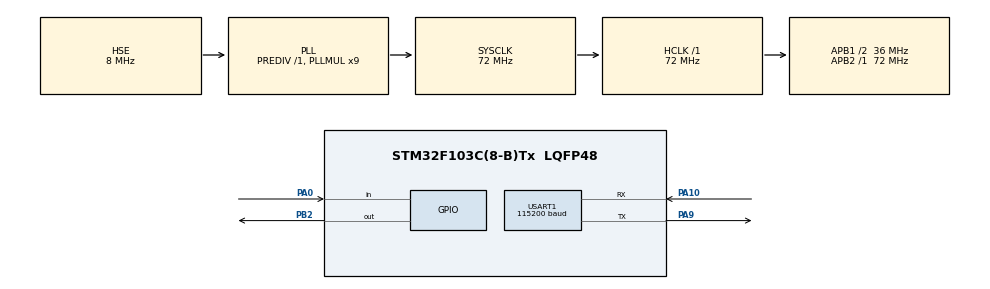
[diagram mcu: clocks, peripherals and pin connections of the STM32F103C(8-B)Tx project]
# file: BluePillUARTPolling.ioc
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Mcu.Family=STM32F1
Mcu.Name=STM32F103C(8-B)Tx
Mcu.Package=LQFP48
NVIC.PriorityGroup=NVIC_PRIORITYGROUP_4
PA0-WKUP.GPIO_PuPd=GPIO_PULLDOWN
PA0-WKUP.Signal=GPIO_Input
PA10.Mode=Asynchronous
PA10.Signal=USART1_RX
PA13.Mode=Serial_Wire
PA13.Signal=SYS_JTMS-SWDIO
PA14.Mode=Serial_Wire
PA14.Signal=SYS_JTCK-SWCLK
PA9.Mode=Asynchronous
PA9.Signal=USART1_TX
PB2.Signal=GPIO_Output
PD0-OSC_IN.Mode=HSE-External-Oscillator
PD0-OSC_IN.Signal=RCC_OSC_IN
PD1-OSC_OUT.Mode=HSE-External-Oscillator
PD1-OSC_OUT.Signal=RCC_OSC_OUT
ProjectManager.HeapSize=0x200
ProjectManager.StackSize=0x400
ProjectManager.TargetToolchain=STM32CubeIDE
RCC.AHBFreq_Value=72000000
RCC.APB1CLKDivider=RCC_HCLK_DIV2
RCC.APB1Freq_Value=36000000
RCC.APB1TimFreq_Value=72000000
RCC.APB2Freq_Value=72000000
RCC.APB2TimFreq_Value=72000000
RCC.HCLKFreq_Value=72000000
RCC.PLLMUL=RCC_PLL_MUL9
RCC.PLLSourceVirtual=RCC_PLLSOURCE_HSE
RCC.SYSCLKFreq_VALUE=72000000
RCC.SYSCLKSource=RCC_SYSCLKSOURCE_PLLCLK
RCC.USBFreq_Value=72000000
USART1.BaudRate=115200
USART1.VirtualMode=VM_ASYNC
USART1.WordLength=WORDLENGTH_8B
board=custom

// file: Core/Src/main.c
/* USER CODE BEGIN Header */
/**
  ******************************************************************************
  * @file           : main.c
  * @brief          : Main program body
  ******************************************************************************
  * @attention
  *
  * Copyright (c) 2025 STMicroelectronics.
  * All rights reserved.
  *
  * This software is licensed under terms that can be found in the LICENSE file
  * in the root directory of this software component.
  * If no LICENSE file comes with this software, it is provided AS-IS.
  *
  ******************************************************************************
  */
/* USER CODE END Header */
#include "main.h"

/* USER CODE BEGIN Includes */
#include <string.h>
#include <stdio.h>
#include <stdlib.h>

#define WELCOME_MSG "Welcome to the Nucleo management console\r\n"
#define MAIN_MENU   "Select the option you are interested in:\r\n\t1. Toggle PB2 LED\r\n\t2. Read USER BUTTON status\r\n\t3. Clear screen and print this message "
#define PROMPT "\r\n> "

/* USER CODE END Includes */

UART_HandleTypeDef huart1;

void SystemClock_Config(void);
static void MX_GPIO_Init(void);
static void MX_USART1_UART_Init(void);
/* USER CODE BEGIN PFP */
void printWelcomeMessage(void);
uint8_t readUserInput(void);
uint8_t processUserInput(uint8_t opt);
/* USER CODE END PFP */

/* USER CODE BEGIN 0 */
void printWelcomeMessage(void) {
//  HAL_UART_Transmit(&huart1, (uint8_t*)"\033[0;0H", strlen("\033[0;0H"), HAL_MAX_DELAY);
//  HAL_UART_Transmit(&huart1, (uint8_t*)"\033[2J", strlen("\033[2J"), HAL_MAX_DELAY);
  HAL_UART_Transmit(&huart1, (uint8_t*)WELCOME_MSG, strlen(WELCOME_MSG), HAL_MAX_DELAY);
  HAL_UART_Transmit(&huart1, (uint8_t*)MAIN_MENU, strlen(MAIN_MENU), HAL_MAX_DELAY);
}

uint8_t readUserInput(void) {
  char readBuf[1];
  HAL_UART_Transmit(&huart1, (uint8_t*)PROMPT, strlen(PROMPT), HAL_MAX_DELAY);
  HAL_UART_Receive(&huart1, (uint8_t*)readBuf, 1, HAL_MAX_DELAY);
  return atoi(readBuf);
}

uint8_t processUserInput(uint8_t opt) {
  char msg[30];

  if (!opt || opt > 3)
  {
	return 0;
  }

  sprintf(msg, "%d", opt);
  HAL_UART_Transmit(&huart1, (uint8_t*)msg, strlen(msg), HAL_MAX_DELAY);

  switch(opt) {
  case 1:
    HAL_GPIO_TogglePin(GPIOB, GPIO_PIN_2);
    break;
  case 2:
    sprintf(msg, "\r\nUSER BUTTON status: %s",
    HAL_GPIO_ReadPin(GPIOA, GPIO_PIN_0) == GPIO_PIN_SET ? "PRESSED" : "RELEASED");
    HAL_UART_Transmit(&huart1, (uint8_t*)msg, strlen(msg), HAL_MAX_DELAY);
    break;
  case 3:
    return 2;
  };

  return 1;
}
/* USER CODE END 0 */

int main(void)
{

  /* USER CODE BEGIN 1 */
  uint8_t opt = 0;
  /* USER CODE END 1 */

  /* MCU Configuration--------------------------------------------------------*/

  /* Reset of all peripherals, Initializes the Flash interface and the Systick. */
  HAL_Init();

  /* Configure the system clock */
  SystemClock_Config();

  /* Initialize all configured peripherals */
  MX_GPIO_Init();
  MX_USART1_UART_Init();

  /* Infinite loop */
  /* USER CODE BEGIN WHILE */
printMessage:
  printWelcomeMessage();
  while (1)
  {
    opt = readUserInput();
	processUserInput(opt);
	if(opt == 3)
	{
      goto printMessage;
	}
    /* USER CODE END WHILE */

  }
}

void SystemClock_Config(void)
{
  RCC_OscInitTypeDef RCC_OscInitStruct = {0};
  RCC_ClkInitTypeDef RCC_ClkInitStruct = {0};

  /** Initializes the RCC Oscillators according to the specified parameters
  * in the RCC_OscInitTypeDef structure.
  */
  RCC_OscInitStruct.OscillatorType = RCC_OSCILLATORTYPE_HSE;
  RCC_OscInitStruct.HSEState = RCC_HSE_ON;
  RCC_OscInitStruct.HSEPredivValue = RCC_HSE_PREDIV_DIV1;
  RCC_OscInitStruct.HSIState = RCC_HSI_ON;
  RCC_OscInitStruct.PLL.PLLState = RCC_PLL_ON;
  RCC_OscInitStruct.PLL.PLLSource = RCC_PLLSOURCE_HSE;
  RCC_OscInitStruct.PLL.PLLMUL = RCC_PLL_MUL9;
  if (HAL_RCC_OscConfig(&RCC_OscInitStruct) != HAL_OK)
  {
    Error_Handler();
  }

  /** Initializes the CPU, AHB and APB buses clocks
  */
  RCC_ClkInitStruct.ClockType = RCC_CLOCKTYPE_HCLK|RCC_CLOCKTYPE_SYSCLK
                              |RCC_CLOCKTYPE_PCLK1|RCC_CLOCKTYPE_PCLK2;
  RCC_ClkInitStruct.SYSCLKSource = RCC_SYSCLKSOURCE_PLLCLK;
  RCC_ClkInitStruct.AHBCLKDivider = RCC_SYSCLK_DIV1;
  RCC_ClkInitStruct.APB1CLKDivider = RCC_HCLK_DIV2;
  RCC_ClkInitStruct.APB2CLKDivider = RCC_HCLK_DIV1;

  if (HAL_RCC_ClockConfig(&RCC_ClkInitStruct, FLASH_LATENCY_2) != HAL_OK)
  {
    Error_Handler();
  }
}

static void MX_USART1_UART_Init(void)
{

  huart1.Instance = USART1;
  huart1.Init.BaudRate = 115200;
  huart1.Init.WordLength = UART_WORDLENGTH_8B;
  huart1.Init.StopBits = UART_STOPBITS_1;
  huart1.Init.Parity = UART_PARITY_NONE;
  huart1.Init.Mode = UART_MODE_TX_RX;
  huart1.Init.HwFlowCtl = UART_HWCONTROL_NONE;
  huart1.Init.OverSampling = UART_OVERSAMPLING_16;
  if (HAL_UART_Init(&huart1) != HAL_OK)
  {
    Error_Handler();
  }

}

static void MX_GPIO_Init(void)
{
  GPIO_InitTypeDef GPIO_InitStruct = {0};

  /* GPIO Ports Clock Enable */
  __HAL_RCC_GPIOD_CLK_ENABLE();
  __HAL_RCC_GPIOA_CLK_ENABLE();
  __HAL_RCC_GPIOB_CLK_ENABLE();

  /*Configure GPIO pin Output Level */
  HAL_GPIO_WritePin(GPIOB, GPIO_PIN_2, GPIO_PIN_RESET);

  /*Configure GPIO pin : PA0 */
  GPIO_InitStruct.Pin = GPIO_PIN_0;
  GPIO_InitStruct.Mode = GPIO_MODE_INPUT;
  GPIO_InitStruct.Pull = GPIO_PULLDOWN;
  HAL_GPIO_Init(GPIOA, &GPIO_InitStruct);

  /*Configure GPIO pin : PB2 */
  GPIO_InitStruct.Pin = GPIO_PIN_2;
  GPIO_InitStruct.Mode = GPIO_MODE_OUTPUT_PP;
  GPIO_InitStruct.Pull = GPIO_NOPULL;
  GPIO_InitStruct.Speed = GPIO_SPEED_FREQ_LOW;
  HAL_GPIO_Init(GPIOB, &GPIO_InitStruct);

}

void Error_Handler(void)
{
  __disable_irq();
  while (1)
  {
  }
}
